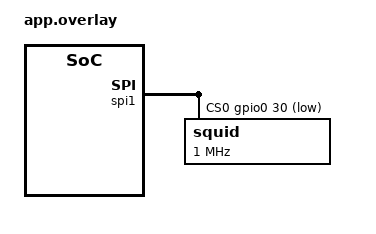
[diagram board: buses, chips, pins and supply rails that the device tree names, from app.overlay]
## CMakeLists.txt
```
# Adapted from zephyr/samples/application_development/out_of_tree_driver

# SPDX-License-Identifier: Apache-2.0

# For the sake of demonstration, we add the driver directory as a zephyr module
# by hand. If your driver is a project that's managed by west, you can remove this line.

set(BOARD nrf52833dk_nrf52833)
set(DTC_OVERLAY_FILE app.overlay)

list(APPEND ZEPHYR_EXTRA_MODULES
  ${CMAKE_CURRENT_SOURCE_DIR}/squid_sensor_module
  )

cmake_minimum_required(VERSION 3.20.0)

find_package(Zephyr REQUIRED HINTS $ENV{ZEPHYR_BASE})
project(zephyr-oot-demo-driver-squid)

target_sources(app PRIVATE
  src/main.c
  )
```

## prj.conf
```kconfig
CONFIG_GPIO=y
CONFIG_SPI=y
CONFIG_SENSOR_SQUID=y
```

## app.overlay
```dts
&pinctrl {
    spi1_default: spi1_default {
        group1 {
            psels = <NRF_PSEL(SPIM_SCK, 0, 31)>,
            <NRF_PSEL(SPIM_MOSI, 0, 29)>,
            <NRF_PSEL(SPIM_MISO, 0, 28)>;    
        };
    };
};

&spi1 {
    status = "okay";
    cs-gpios = <&gpio0 30 GPIO_ACTIVE_LOW>;
    squid: squid@0 {
        reg = <0>;
        compatible = "zephyr,squid";
        spi-max-frequency = <1000000>;
    };
};
```

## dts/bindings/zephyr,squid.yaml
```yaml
description: Sparkle Squid Thing

compatible: "zephyr,squid"

include: spi-device.yaml
```

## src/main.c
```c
/*
 * Copyright (c) 2019 Nordic Semiconductor
 *
 * SPDX-License-Identifier: Apache-2.0
 */

#include "sensor_squid_driver.h"
#include <stdio.h>
#include <zephyr/kernel.h>

/* 1000 msec = 1 sec */
#define SLEEP_TIME_MS 25

const struct device *dev;

void main(void)
{
	int ret;
	bool state = false;
	int frame = 0;
	int speed = 1;
	int loop = 0;
	printk("Hello World from the app!\n");

	dev = device_get_binding("SENSOR_SQUID");

	__ASSERT(dev, "Failed to get device binding");

	printk("device is %p, name is %s\n", dev, dev->name);


	while (1)
	{
		if ((loop % speed) == 0) {
			sensor_squid_update(dev, (frame % 4));
			frame++;
		}
		int8_t buttons = sensor_squid_state(dev);
		if ((buttons & 1) != 0) {
			speed++;
			printk("Delay is now %d\n", speed);
		} else if ((buttons & 2) != 0) {
			speed = (speed > 1) ? speed - 1 : speed;
			printk("Delay is now %d\n", speed);
		}
		k_msleep(SLEEP_TIME_MS);
		loop++;
	}
}
```
